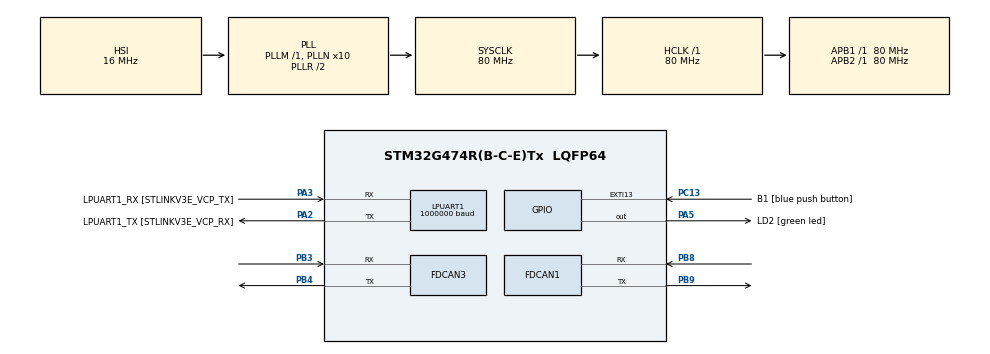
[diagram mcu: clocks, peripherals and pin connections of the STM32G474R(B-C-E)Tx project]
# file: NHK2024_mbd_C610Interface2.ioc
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FDCAN1.CalculateBaudRateNominal=1000000
FDCAN1.CalculateTimeBitNominal=1000
FDCAN1.CalculateTimeQuantumNominal=50.0
FDCAN1.DataPrescaler=2
FDCAN1.DataTimeSeg1=15
FDCAN1.DataTimeSeg2=4
FDCAN1.FrameFormat=FDCAN_FRAME_FD_BRS
FDCAN1.NominalPrescaler=4
FDCAN1.NominalTimeSeg1=15
FDCAN1.NominalTimeSeg2=4
FDCAN1.StdFiltersNbr=1
FDCAN3.CalculateBaudRateNominal=1000000
FDCAN3.CalculateTimeBitNominal=1000
FDCAN3.CalculateTimeQuantumNominal=50.0
FDCAN3.NominalPrescaler=4
FDCAN3.NominalTimeSeg1=15
FDCAN3.NominalTimeSeg2=4
FDCAN3.StdFiltersNbr=1
LPUART1.BaudRate=1000000
LPUART1.WordLength=UART_WORDLENGTH_8B
Mcu.Family=STM32G4
Mcu.Name=STM32G474R(B-C-E)Tx
Mcu.Package=LQFP64
NVIC.FDCAN1_IT0_IRQn=true\:3\:0\:true\:false\:true\:true\:true\:true
NVIC.FDCAN1_IT1_IRQn=true\:3\:0\:true\:false\:true\:true\:true\:true
NVIC.FDCAN3_IT0_IRQn=true\:2\:0\:true\:false\:true\:true\:true\:true
NVIC.FDCAN3_IT1_IRQn=true\:2\:0\:true\:false\:true\:true\:true\:true
NVIC.PriorityGroup=NVIC_PRIORITYGROUP_4
NVIC.TIM1_TRG_COM_TIM17_IRQn=true\:3\:0\:true\:false\:true\:true\:true\:true
PA13.GPIO_Label=T_SWDIO
PA13.Mode=Serial_Wire
PA13.Signal=SYS_JTMS-SWDIO
PA14.GPIO_Label=T_SWCLK
PA14.Mode=Serial_Wire
PA14.Signal=SYS_JTCK-SWCLK
PA2.GPIO_Label=LPUART1_TX [STLINKV3E_VCP_RX]
PA2.Mode=Asynchronous
PA2.Signal=LPUART1_TX
PA3.GPIO_Label=LPUART1_RX [STLINKV3E_VCP_TX]
PA3.Mode=Asynchronous
PA3.Signal=LPUART1_RX
PA5.GPIO_Label=LD2 [green led]
PA5.Signal=GPIO_Output
PB3.Mode=FDCAN_Activate
PB3.Signal=FDCAN3_RX
PB4.Mode=FDCAN_Activate
PB4.Signal=FDCAN3_TX
PB8-BOOT0.Mode=FDCAN_Activate
PB8-BOOT0.Signal=FDCAN1_RX
PB9.Mode=FDCAN_Activate
PB9.Signal=FDCAN1_TX
PC13.GPIO_Label=B1 [blue push button]
PC13.Signal=GPXTI13
PC14-OSC32_IN.Mode=LSE-External-Oscillator
PC14-OSC32_IN.Signal=RCC_OSC32_IN
PC15-OSC32_OUT.Mode=LSE-External-Oscillator
PC15-OSC32_OUT.Signal=RCC_OSC32_OUT
PF0-OSC_IN.Mode=HSE-External-Oscillator
PF0-OSC_IN.Signal=RCC_OSC_IN
PF1-OSC_OUT.Mode=HSE-External-Oscillator
PF1-OSC_OUT.Signal=RCC_OSC_OUT
ProjectManager.HeapSize=0x200
ProjectManager.StackSize=0x400
ProjectManager.TargetToolchain=STM32CubeIDE
RCC.ADC12Freq_Value=80000000
RCC.ADC345Freq_Value=80000000
RCC.AHBFreq_Value=80000000
RCC.APB1Freq_Value=80000000
RCC.APB1TimFreq_Value=80000000
RCC.APB2Freq_Value=80000000
RCC.APB2TimFreq_Value=80000000
RCC.CortexFreq_Value=80000000
RCC.EXTERNAL_CLOCK_VALUE=12288000
RCC.HCLKFreq_Value=80000000
RCC.HSE_VALUE=24000000
RCC.HSI48_VALUE=48000000
RCC.HSI_VALUE=16000000
RCC.PLLN=10
RCC.RTCClockSelection=RCC_RTCCLKSOURCE_LSE
RCC.SYSCLKFreq_VALUE=80000000
RCC.SYSCLKSource=RCC_SYSCLKSOURCE_PLLCLK
RCC.USBFreq_Value=80000000
RCC.VCOOutputFreq_Value=160000000
TIM17.PeriodNoDither=999
TIM17.Prescaler=79
VP_SYS_VS_DBSignals.Mode=DisableDeadBatterySignals
VP_TIM17_VS_ClockSourceINT.Mode=Enable_Timer
board=NUCLEO-G474RE

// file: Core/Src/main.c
/* USER CODE BEGIN Header */
/**
  ******************************************************************************
  * @file           : main.c
  * @brief          : Main program body
  ******************************************************************************
  * @attention
  *
  * Copyright (c) 2024 STMicroelectronics.
  * All rights reserved.
  *
  * This software is licensed under terms that can be found in the LICENSE file
  * in the root directory of this software component.
  * If no LICENSE file comes with this software, it is provided AS-IS.
  *
  ******************************************************************************
  */
/* USER CODE END Header */
#include "main.h"

/* USER CODE BEGIN Includes */
#include <stdio.h>
#include "DJI_CANIDList.h"
#include "R2CANIDList.h"
/* USER CODE END Includes */

/* USER CODE BEGIN PM */
#define WHEEL_DIAMETER 100 //[mm]
#define WHEELBASE_LEN 300 //[mm]
#define TREAD_LEN 200//[mm]
/* USER CODE END PM */

FDCAN_HandleTypeDef hfdcan1;
FDCAN_HandleTypeDef hfdcan3;

UART_HandleTypeDef hlpuart1;

TIM_HandleTypeDef htim17;

/* USER CODE BEGIN PV */
FDCAN_TxHeaderTypeDef fdcan3_TxHeader;
FDCAN_RxHeaderTypeDef fdcan3_RxHeader;
uint8_t 			  fdcan3_RxData[8];

FDCAN_TxHeaderTypeDef fdcan1_TxHeader;
FDCAN_RxHeaderTypeDef fdcan1_RxHeader;
uint8_t 			  fdcan1_RxData[8];

typedef struct{
	float actPos[3];
	float trgPos[3];
	float outPos[3];
	float actVel[3];
	float trgVel[3];
	float outVel[3];
} robotPosStatus;

typedef struct{
	uint16_t CANID;
	uint8_t motorID;
	float trgVel;
	float actVel;
	float outVel;
	float angle;//[rad]
}motor;

robotPosStatus gRobotPos;
motor gMotor[4];
/* USER CODE END PV */

void SystemClock_Config(void);
static void MX_GPIO_Init(void);
static void MX_LPUART1_UART_Init(void);
static void MX_FDCAN3_Init(void);
static void MX_TIM17_Init(void);
static void MX_FDCAN1_Init(void);
/* USER CODE BEGIN PFP */
void CAN_Motordrive(int16_t vel[]);
/* USER CODE END PFP */

/* USER CODE BEGIN 0 */
void InverseKinematics(robotPosStatus *robotPos, motor wheelMotor[]){
	//座標変換行�??

	float wheelParam = (WHEELBASE_LEN + TREAD_LEN) / 2;
	const float A[4][3] = {
			{ 200, -200, wheelParam},
			{ 200,  200, wheelParam},
			{-200,  200, wheelParam},
			{-200, -200, wheelParam}
	};

	for(uint8_t i=0; i<4; i++){
		wheelMotor[i].trgVel = 0;

		for(uint8_t j=0; j<3; j++){
			wheelMotor[i].trgVel += A[i][j] * robotPos->trgVel[j] / WHEEL_DIAMETER;
		}
		printf("%d:%f\r\n", i, wheelMotor[i].trgVel);
	}
}

void HAL_FDCAN_RxFifo0Callback(FDCAN_HandleTypeDef *hfdcan, uint32_t RxFifo0ITs) {

	//printf("FIFO0 callback\r\n");
	if(hfdcan == &hfdcan1){
		if (HAL_FDCAN_GetRxMessage(hfdcan, FDCAN_RX_FIFO0, &fdcan1_RxHeader, fdcan1_RxData) != HAL_OK) {
			Error_Handler();
		}
		if(fdcan1_RxHeader.Identifier == CANID_ROBOT_VEL){
			for(uint8_t i=0; i<3; i++){
				gRobotPos.trgVel[i] = fdcan1_RxData[i] - 127;
			}
		}

		//printf("RxData: %x\r\n", fdcan1_RxData[0]);
	}
}

void HAL_FDCAN_RxFifo1Callback(FDCAN_HandleTypeDef *hfdcan, uint32_t RxFifo1ITs) {
	//printf("FIFO1 callback\r\n");
	if (hfdcan == &hfdcan3) {
		if (HAL_FDCAN_GetRxMessage(hfdcan, FDCAN_RX_FIFO1, &fdcan3_RxHeader, fdcan3_RxData) != HAL_OK) {
			Error_Handler();
		}

	}
}

void HAL_TIM_PeriodElapsedCallback(TIM_HandleTypeDef *htim){
	{
		if(htim == &htim17){

			InverseKinematics(&gRobotPos, gMotor);
			int16_t vel[4] = {};
			uint8_t gain = 4;
			for(uint8_t i=0; i<4; i++){
				vel[i] = gain * gMotor[i].trgVel;
			}
			CAN_Motordrive(vel);
			//printf("Timer callback\r\n");
		}
	}
}

void CAN_Motordrive(int16_t vel[])
{
	int i;
	uint8_t TxData[8];
	for(i=0; i<4; i++){
		if(vel[i]<-10000)vel[i]=-10000;
		else if(vel[i]>10000)vel[i]=10000;
		TxData[i*2]=vel[i]>>8;//上位ビ
		TxData[i*2+1]=vel[i]&0x00FF;//下位ビ
	}

	fdcan3_TxHeader.IdType = FDCAN_STANDARD_ID;
	fdcan3_TxHeader.TxFrameType = FDCAN_DATA_FRAME;
	fdcan3_TxHeader.DataLength = FDCAN_DLC_BYTES_8;
	fdcan3_TxHeader.ErrorStateIndicator = FDCAN_ESI_ACTIVE;
	fdcan3_TxHeader.BitRateSwitch = FDCAN_BRS_OFF;
	fdcan3_TxHeader.FDFormat = FDCAN_CLASSIC_CAN;
	fdcan3_TxHeader.TxEventFifoControl = FDCAN_NO_TX_EVENTS;
	fdcan3_TxHeader.MessageMarker = 0;
	fdcan3_TxHeader.Identifier = DJI_CANID_TX0;

	if (HAL_FDCAN_AddMessageToTxFifoQ(&hfdcan3, &fdcan3_TxHeader, TxData) != HAL_OK) {
		/* Transmission request Error */
		Error_Handler();
	}
	//HAL_Delay(10);
}

int _write(int file, char *ptr, int len)
{
    HAL_UART_Transmit(&hlpuart1,(uint8_t *)ptr,len,10);
    return len;
}
/* USER CODE END 0 */

int main(void)
{

  /* MCU Configuration--------------------------------------------------------*/

  /* Reset of all peripherals, Initializes the Flash interface and the Systick. */
  HAL_Init();

  /* USER CODE BEGIN Init */
  setbuf(stdout, NULL);

  /* USER CODE END Init */

  /* Configure the system clock */
  SystemClock_Config();

  /* Initialize all configured peripherals */
  MX_GPIO_Init();
  MX_LPUART1_UART_Init();
  MX_FDCAN3_Init();
  MX_TIM17_Init();
  MX_FDCAN1_Init();
  /* USER CODE BEGIN 2 */
  printf("Initialized\r\n");
  HAL_TIM_Base_Start_IT(&htim17);
  for(uint8_t i=0; i<4; i++){
	  gMotor[i].trgVel = 0;
  }
  gRobotPos.trgVel[0] = 0;
  gRobotPos.trgVel[1] = 0;
  gRobotPos.trgVel[2] = 0;
  /* USER CODE END 2 */

  /* Infinite loop */
  while (1)
  {

  }
}

void SystemClock_Config(void)
{
  RCC_OscInitTypeDef RCC_OscInitStruct = {0};
  RCC_ClkInitTypeDef RCC_ClkInitStruct = {0};

  /** Configure the main internal regulator output voltage
  */
  HAL_PWREx_ControlVoltageScaling(PWR_REGULATOR_VOLTAGE_SCALE1);

  /** Initializes the RCC Oscillators according to the specified parameters
  * in the RCC_OscInitTypeDef structure.
  */
  RCC_OscInitStruct.OscillatorType = RCC_OSCILLATORTYPE_HSI;
  RCC_OscInitStruct.HSIState = RCC_HSI_ON;
  RCC_OscInitStruct.HSICalibrationValue = RCC_HSICALIBRATION_DEFAULT;
  RCC_OscInitStruct.PLL.PLLState = RCC_PLL_ON;
  RCC_OscInitStruct.PLL.PLLSource = RCC_PLLSOURCE_HSI;
  RCC_OscInitStruct.PLL.PLLM = RCC_PLLM_DIV1;
  RCC_OscInitStruct.PLL.PLLN = 10;
  RCC_OscInitStruct.PLL.PLLP = RCC_PLLP_DIV2;
  RCC_OscInitStruct.PLL.PLLQ = RCC_PLLQ_DIV2;
  RCC_OscInitStruct.PLL.PLLR = RCC_PLLR_DIV2;
  if (HAL_RCC_OscConfig(&RCC_OscInitStruct) != HAL_OK)
  {
    Error_Handler();
  }

  /** Initializes the CPU, AHB and APB buses clocks
  */
  RCC_ClkInitStruct.ClockType = RCC_CLOCKTYPE_HCLK|RCC_CLOCKTYPE_SYSCLK
                              |RCC_CLOCKTYPE_PCLK1|RCC_CLOCKTYPE_PCLK2;
  RCC_ClkInitStruct.SYSCLKSource = RCC_SYSCLKSOURCE_PLLCLK;
  RCC_ClkInitStruct.AHBCLKDivider = RCC_SYSCLK_DIV1;
  RCC_ClkInitStruct.APB1CLKDivider = RCC_HCLK_DIV1;
  RCC_ClkInitStruct.APB2CLKDivider = RCC_HCLK_DIV1;

  if (HAL_RCC_ClockConfig(&RCC_ClkInitStruct, FLASH_LATENCY_2) != HAL_OK)
  {
    Error_Handler();
  }
}

static void MX_FDCAN1_Init(void)
{

  hfdcan1.Instance = FDCAN1;
  hfdcan1.Init.ClockDivider = FDCAN_CLOCK_DIV1;
  hfdcan1.Init.FrameFormat = FDCAN_FRAME_FD_BRS;
  hfdcan1.Init.Mode = FDCAN_MODE_NORMAL;
  hfdcan1.Init.AutoRetransmission = DISABLE;
  hfdcan1.Init.TransmitPause = DISABLE;
  hfdcan1.Init.ProtocolException = DISABLE;
  hfdcan1.Init.NominalPrescaler = 4;
  hfdcan1.Init.NominalSyncJumpWidth = 1;
  hfdcan1.Init.NominalTimeSeg1 = 15;
  hfdcan1.Init.NominalTimeSeg2 = 4;
  hfdcan1.Init.DataPrescaler = 2;
  hfdcan1.Init.DataSyncJumpWidth = 1;
  hfdcan1.Init.DataTimeSeg1 = 15;
  hfdcan1.Init.DataTimeSeg2 = 4;
  hfdcan1.Init.StdFiltersNbr = 1;
  hfdcan1.Init.ExtFiltersNbr = 0;
  hfdcan1.Init.TxFifoQueueMode = FDCAN_TX_FIFO_OPERATION;
  if (HAL_FDCAN_Init(&hfdcan1) != HAL_OK)
  {
    Error_Handler();
  }
  /* USER CODE BEGIN FDCAN1_Init 2 */
	FDCAN_FilterTypeDef sFilterConfig;
	sFilterConfig.IdType = FDCAN_STANDARD_ID;
	sFilterConfig.FilterIndex = 0;
	sFilterConfig.FilterType = FDCAN_FILTER_MASK;
	sFilterConfig.FilterConfig = FDCAN_FILTER_TO_RXFIFO0;
	sFilterConfig.FilterID1 = CANID_ROBOT_VEL;
	sFilterConfig.FilterID2 = 0b10011110000;

	if (HAL_FDCAN_ConfigFilter(&hfdcan1, &sFilterConfig) != HAL_OK) {
		Error_Handler();
	}
	if (HAL_FDCAN_ConfigGlobalFilter(&hfdcan1, FDCAN_REJECT, FDCAN_REJECT, FDCAN_FILTER_REMOTE, FDCAN_FILTER_REMOTE) != HAL_OK) {
		Error_Handler();
	}

	if (HAL_FDCAN_Start(&hfdcan1) != HAL_OK) {
		Error_Handler();
	}

	if (HAL_FDCAN_ActivateNotification(&hfdcan1, FDCAN_IT_RX_FIFO0_NEW_MESSAGE, 0) != HAL_OK) {
		Error_Handler();
	}

  /* USER CODE END FDCAN1_Init 2 */

}

static void MX_FDCAN3_Init(void)
{

  hfdcan3.Instance = FDCAN3;
  hfdcan3.Init.ClockDivider = FDCAN_CLOCK_DIV1;
  hfdcan3.Init.FrameFormat = FDCAN_FRAME_CLASSIC;
  hfdcan3.Init.Mode = FDCAN_MODE_NORMAL;
  hfdcan3.Init.AutoRetransmission = DISABLE;
  hfdcan3.Init.TransmitPause = DISABLE;
  hfdcan3.Init.ProtocolException = DISABLE;
  hfdcan3.Init.NominalPrescaler = 4;
  hfdcan3.Init.NominalSyncJumpWidth = 1;
  hfdcan3.Init.NominalTimeSeg1 = 15;
  hfdcan3.Init.NominalTimeSeg2 = 4;
  hfdcan3.Init.DataPrescaler = 1;
  hfdcan3.Init.DataSyncJumpWidth = 1;
  hfdcan3.Init.DataTimeSeg1 = 1;
  hfdcan3.Init.DataTimeSeg2 = 1;
  hfdcan3.Init.StdFiltersNbr = 1;
  hfdcan3.Init.ExtFiltersNbr = 0;
  hfdcan3.Init.TxFifoQueueMode = FDCAN_TX_FIFO_OPERATION;
  if (HAL_FDCAN_Init(&hfdcan3) != HAL_OK)
  {
    Error_Handler();
  }
  /* USER CODE BEGIN FDCAN3_Init 2 */

  	FDCAN_FilterTypeDef sFilterConfig;
	sFilterConfig.IdType = FDCAN_STANDARD_ID;
	sFilterConfig.FilterIndex = 0;
	sFilterConfig.FilterType = FDCAN_FILTER_RANGE;
	sFilterConfig.FilterConfig = FDCAN_FILTER_TO_RXFIFO1;
	sFilterConfig.FilterID1 = DJI_CANID_0;
	sFilterConfig.FilterID2 = DJI_CANID_7;

	if (HAL_FDCAN_ConfigFilter(&hfdcan3, &sFilterConfig) != HAL_OK) {
		Error_Handler();
	}
	if (HAL_FDCAN_ConfigGlobalFilter(&hfdcan3, FDCAN_REJECT, FDCAN_REJECT, FDCAN_FILTER_REMOTE, FDCAN_FILTER_REMOTE) != HAL_OK) {
		Error_Handler();
	}

	if (HAL_FDCAN_Start(&hfdcan3) != HAL_OK) {
		Error_Handler();
	}

	if (HAL_FDCAN_ActivateNotification(&hfdcan3, FDCAN_IT_RX_FIFO1_NEW_MESSAGE, 0) != HAL_OK) {
		Error_Handler();
	}

  /* USER CODE END FDCAN3_Init 2 */

}

static void MX_LPUART1_UART_Init(void)
{

  hlpuart1.Instance = LPUART1;
  hlpuart1.Init.BaudRate = 1000000;
  hlpuart1.Init.WordLength = UART_WORDLENGTH_8B;
  hlpuart1.Init.StopBits = UART_STOPBITS_1;
  hlpuart1.Init.Parity = UART_PARITY_NONE;
  hlpuart1.Init.Mode = UART_MODE_TX_RX;
  hlpuart1.Init.HwFlowCtl = UART_HWCONTROL_NONE;
  hlpuart1.Init.OneBitSampling = UART_ONE_BIT_SAMPLE_DISABLE;
  hlpuart1.Init.ClockPrescaler = UART_PRESCALER_DIV1;
  hlpuart1.AdvancedInit.AdvFeatureInit = UART_ADVFEATURE_NO_INIT;
  if (HAL_UART_Init(&hlpuart1) != HAL_OK)
  {
    Error_Handler();
  }
  if (HAL_UARTEx_SetTxFifoThreshold(&hlpuart1, UART_TXFIFO_THRESHOLD_1_8) != HAL_OK)
  {
    Error_Handler();
  }
  if (HAL_UARTEx_SetRxFifoThreshold(&hlpuart1, UART_RXFIFO_THRESHOLD_1_8) != HAL_OK)
  {
    Error_Handler();
  }
  if (HAL_UARTEx_DisableFifoMode(&hlpuart1) != HAL_OK)
  {
    Error_Handler();
  }

}

static void MX_TIM17_Init(void)
{

  htim17.Instance = TIM17;
  htim17.Init.Prescaler = 79;
  htim17.Init.CounterMode = TIM_COUNTERMODE_UP;
  htim17.Init.Period = 999;
  htim17.Init.ClockDivision = TIM_CLOCKDIVISION_DIV1;
  htim17.Init.RepetitionCounter = 0;
  htim17.Init.AutoReloadPreload = TIM_AUTORELOAD_PRELOAD_DISABLE;
  if (HAL_TIM_Base_Init(&htim17) != HAL_OK)
  {
    Error_Handler();
  }

}

static void MX_GPIO_Init(void)
{
  GPIO_InitTypeDef GPIO_InitStruct = {0};

  /* GPIO Ports Clock Enable */
  __HAL_RCC_GPIOC_CLK_ENABLE();
  __HAL_RCC_GPIOF_CLK_ENABLE();
  __HAL_RCC_GPIOA_CLK_ENABLE();
  __HAL_RCC_GPIOB_CLK_ENABLE();

  /*Configure GPIO pin Output Level */
  HAL_GPIO_WritePin(LD2_GPIO_Port, LD2_Pin, GPIO_PIN_RESET);

  /*Configure GPIO pin : B1_Pin */
  GPIO_InitStruct.Pin = B1_Pin;
  GPIO_InitStruct.Mode = GPIO_MODE_IT_RISING;
  GPIO_InitStruct.Pull = GPIO_NOPULL;
  HAL_GPIO_Init(B1_GPIO_Port, &GPIO_InitStruct);

  /*Configure GPIO pin : LD2_Pin */
  GPIO_InitStruct.Pin = LD2_Pin;
  GPIO_InitStruct.Mode = GPIO_MODE_OUTPUT_PP;
  GPIO_InitStruct.Pull = GPIO_NOPULL;
  GPIO_InitStruct.Speed = GPIO_SPEED_FREQ_LOW;
  HAL_GPIO_Init(LD2_GPIO_Port, &GPIO_InitStruct);

}

void Error_Handler(void)
{
  __disable_irq();
  while (1)
  {
  }
}
